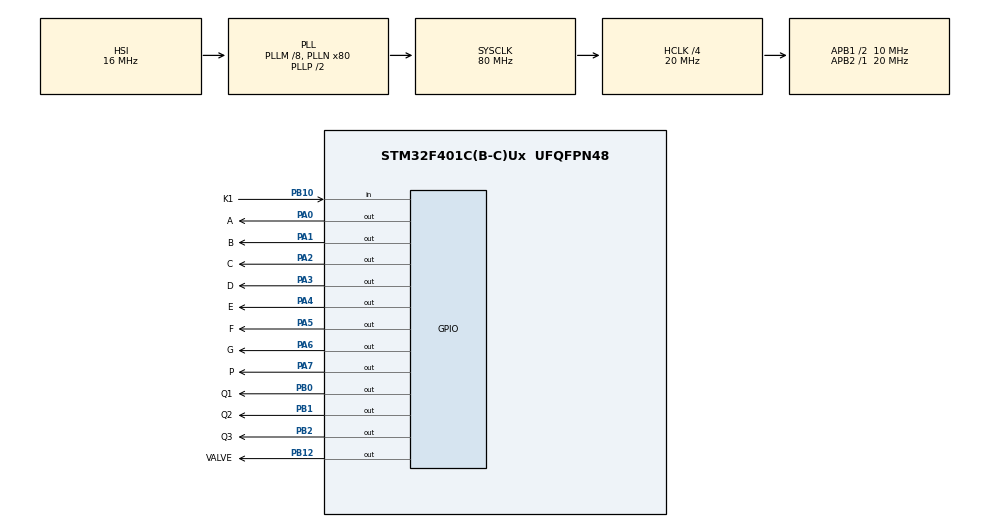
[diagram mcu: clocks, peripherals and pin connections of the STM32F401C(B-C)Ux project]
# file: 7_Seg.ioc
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Mcu.Family=STM32F4
Mcu.Name=STM32F401C(B-C)Ux
Mcu.Package=UFQFPN48
NVIC.PriorityGroup=NVIC_PRIORITYGROUP_4
NVIC.TIM3_IRQn=true\:0\:0\:false\:false\:true\:true\:true\:true
PA0-WKUP.GPIO_Label=A
PA0-WKUP.GPIO_PuPd=GPIO_PULLDOWN
PA0-WKUP.Signal=GPIO_Output
PA1.GPIO_Label=B
PA1.GPIO_PuPd=GPIO_PULLDOWN
PA1.Signal=GPIO_Output
PA13.Mode=Trace_Asynchronous_SW
PA13.Signal=SYS_JTMS-SWDIO
PA14.Mode=Trace_Asynchronous_SW
PA14.Signal=SYS_JTCK-SWCLK
PA2.GPIO_Label=C
PA2.GPIO_PuPd=GPIO_PULLDOWN
PA2.Signal=GPIO_Output
PA3.GPIO_Label=D
PA3.GPIO_PuPd=GPIO_PULLDOWN
PA3.Signal=GPIO_Output
PA4.GPIO_Label=E
PA4.GPIO_PuPd=GPIO_PULLDOWN
PA4.Signal=GPIO_Output
PA5.GPIO_Label=F
PA5.GPIO_PuPd=GPIO_PULLDOWN
PA5.Signal=GPIO_Output
PA6.GPIO_Label=G
PA6.GPIO_PuPd=GPIO_PULLDOWN
PA6.Signal=GPIO_Output
PA7.GPIO_Label=P
PA7.GPIO_PuPd=GPIO_PULLDOWN
PA7.Signal=GPIO_Output
PB0.GPIO_Label=Q1
PB0.GPIO_PuPd=GPIO_PULLDOWN
PB0.PinState=GPIO_PIN_RESET
PB0.Signal=GPIO_Output
PB1.GPIO_Label=Q2
PB1.GPIO_PuPd=GPIO_PULLDOWN
PB1.Signal=GPIO_Output
PB10.GPIO_Label=K1
PB10.GPIO_PuPd=GPIO_PULLDOWN
PB10.Signal=GPIO_Input
PB12.GPIO_Label=VALVE
PB12.GPIO_PuPd=GPIO_PULLDOWN
PB12.PinState=GPIO_PIN_SET
PB12.Signal=GPIO_Output
PB2.GPIO_Label=Q3
PB2.GPIO_PuPd=GPIO_PULLDOWN
PB2.Signal=GPIO_Output
PB3.Mode=Trace_Asynchronous_SW
PB3.Signal=SYS_JTDO-SWO
ProjectManager.HeapSize=0x200
ProjectManager.StackSize=0x400
ProjectManager.TargetToolchain=CMake
RCC.48MHZClocksFreq_Value=40000000
RCC.AHBCLKDivider=RCC_SYSCLK_DIV4
RCC.AHBFreq_Value=20000000
RCC.APB1CLKDivider=RCC_HCLK_DIV2
RCC.APB1Freq_Value=10000000
RCC.APB1TimFreq_Value=20000000
RCC.APB2Freq_Value=20000000
RCC.APB2TimFreq_Value=20000000
RCC.CortexFreq_Value=20000000
RCC.HCLKFreq_Value=20000000
RCC.HSE_VALUE=25000000
RCC.HSI_VALUE=16000000
RCC.LSE_VALUE=32768
RCC.PLLM=8
RCC.PLLN=80
RCC.SYSCLKFreq_VALUE=80000000
RCC.SYSCLKSource=RCC_SYSCLKSOURCE_PLLCLK
RCC.VCOOutputFreq_Value=160000000
TIM3.Period=9
TIM3.Prescaler=8399
VP_TIM3_VS_ClockSourceINT.Mode=Internal
board=custom

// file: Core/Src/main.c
/* USER CODE BEGIN Header */
/**
  ******************************************************************************
  * @file           : main.c
  * @brief          : Main program body
  ******************************************************************************
  * @attention
  *
  * Copyright (c) 2025 STMicroelectronics.
  * All rights reserved.
  *
  * This software is licensed under terms that can be found in the LICENSE file
  * in the root directory of this software component.
  * If no LICENSE file comes with this software, it is provided AS-IS.
  *
  ******************************************************************************
  */
/* USER CODE END Header */
#include "main.h"
#include "tim.h"
#include "gpio.h"

/* USER CODE BEGIN Includes */
#include "7_seg_driver.h"
#include "State_Machine.h"
#include "AppFlashConfig.h"
#include "Button.h"
/* USER CODE END Includes */

/* USER CODE BEGIN PV */
/*volatile*/ Seg7_Handle_t seg7_handle = {0};

GPIO_TypeDef* digit_ports[NUMBER_OF_DIG] = {
  [0] = Q1_GPIO_Port,
  [1] = Q2_GPIO_Port,
  [2] = Q3_GPIO_Port
};

uint16_t digit_pins[NUMBER_OF_DIG] = {
  [0] = Q1_Pin,
  [1] = Q2_Pin,
  [2] = Q3_Pin
};

/** Порт сегментов: весь порт A отдан под сегменты */
GPIO_TypeDef* segment_port = GPIOA;

/**
 * @brief Инициализация машины состояний
 *        через инициализацию контекста.
 */
MachineState_Context_t Machine_State = {
  .machine_state = STATE_READY,
  .valve_state   = CLOSED,
  .cfg_sec       = DEFAULT_TIME,
  .cur_sec       = 0
};

/* USER CODE END PV */

void SystemClock_Config(void);

int main(void)
{

  /* MCU Configuration--------------------------------------------------------*/

  /* Reset of all peripherals, Initializes the Flash interface and the Systick. */
  HAL_Init();

  /* Configure the system clock */
  SystemClock_Config();

  /* Initialize all configured peripherals */
  MX_GPIO_Init();
  MX_TIM3_Init();
  /* USER CODE BEGIN 2 */

  APP_Load_CFG_Flash();
  Machine_State.cfg_sec = GlobalAppConfig.cfg_sec;

  Seg7_Init(&seg7_handle, digit_ports, digit_pins, segment_port, 0xFF);
  Seg7_SetNumber(&seg7_handle, Machine_State.cfg_sec);
  Seg7_UpdateIndicator(&seg7_handle);

  Button_Init(K1_GPIO_Port, K1_Pin, HIGH);

  HAL_TIM_Base_Start_IT(&htim3);

  uint32_t last_ms =     HAL_GetTick();  /// Для 1мс - сканера
  uint32_t last_tick1s = HAL_GetTick();  /// Для 1с - тика автомата

  /* USER CODE END 2 */

  /* Infinite loop */
  /* USER CODE BEGIN WHILE */
  while (1)
  {
    const uint32_t now = HAL_GetTick();

    /// --- Кнопка:  строгие 1 мс шаги; "догоняем', если главный цикл задержался ---///
    while (last_ms != now)
    {
      last_ms++;
      const MachineEvent_t current_event = Button_Poll_1ms();

      if (current_event != EVENT_NONE)
      {
        Machine_Process(&Machine_State, current_event);
      }
    }

    /// --- Секундный тик автомата ---
    if ((now - last_tick1s) >= 1000)
    {
      last_tick1s += 1000;  /// Не приравнять к NOW, а прибавить 1000
      Machine_Process(&Machine_State, EVENT_TICK_1S);
    }

    /* USER CODE END WHILE */

  }
}

void SystemClock_Config(void)
{
  RCC_OscInitTypeDef RCC_OscInitStruct = {0};
  RCC_ClkInitTypeDef RCC_ClkInitStruct = {0};

  /** Configure the main internal regulator output voltage
  */
  __HAL_RCC_PWR_CLK_ENABLE();
  __HAL_PWR_VOLTAGESCALING_CONFIG(PWR_REGULATOR_VOLTAGE_SCALE2);

  /** Initializes the RCC Oscillators according to the specified parameters
  * in the RCC_OscInitTypeDef structure.
  */
  RCC_OscInitStruct.OscillatorType = RCC_OSCILLATORTYPE_HSI;
  RCC_OscInitStruct.HSIState = RCC_HSI_ON;
  RCC_OscInitStruct.HSICalibrationValue = RCC_HSICALIBRATION_DEFAULT;
  RCC_OscInitStruct.PLL.PLLState = RCC_PLL_ON;
  RCC_OscInitStruct.PLL.PLLSource = RCC_PLLSOURCE_HSI;
  RCC_OscInitStruct.PLL.PLLM = 8;
  RCC_OscInitStruct.PLL.PLLN = 80;
  RCC_OscInitStruct.PLL.PLLP = RCC_PLLP_DIV2;
  RCC_OscInitStruct.PLL.PLLQ = 4;
  if (HAL_RCC_OscConfig(&RCC_OscInitStruct) != HAL_OK)
  {
    Error_Handler();
  }

  /** Initializes the CPU, AHB and APB buses clocks
  */
  RCC_ClkInitStruct.ClockType = RCC_CLOCKTYPE_HCLK|RCC_CLOCKTYPE_SYSCLK
                              |RCC_CLOCKTYPE_PCLK1|RCC_CLOCKTYPE_PCLK2;
  RCC_ClkInitStruct.SYSCLKSource = RCC_SYSCLKSOURCE_PLLCLK;
  RCC_ClkInitStruct.AHBCLKDivider = RCC_SYSCLK_DIV4;
  RCC_ClkInitStruct.APB1CLKDivider = RCC_HCLK_DIV2;
  RCC_ClkInitStruct.APB2CLKDivider = RCC_HCLK_DIV1;

  if (HAL_RCC_ClockConfig(&RCC_ClkInitStruct, FLASH_LATENCY_0) != HAL_OK)
  {
    Error_Handler();
  }
}

/* USER CODE BEGIN 4 */
void HAL_TIM_PeriodElapsedCallback(TIM_HandleTypeDef *htim)
{
  if (htim->Instance == TIM3)
    Seg7_UpdateIndicator(&seg7_handle);
}
/* USER CODE END 4 */

void Error_Handler(void)
{
  __disable_irq();
  while (1)
  {
  }
}
